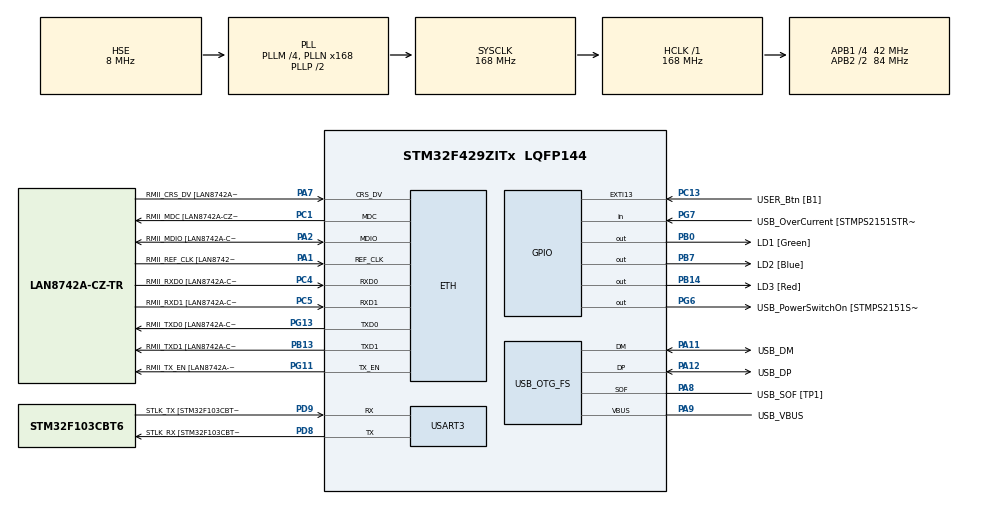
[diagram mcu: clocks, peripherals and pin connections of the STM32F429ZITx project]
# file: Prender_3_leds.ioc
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ETH.MediaInterface=HAL_ETH_RMII_MODE
ETH.PHY_Name=LAN8742A_PHY_ADDRESS
ETH.PHY_Value=0
ETH.PhyAddress=0
Mcu.Family=STM32F4
Mcu.Name=STM32F429ZITx
Mcu.Package=LQFP144
NVIC.PriorityGroup=NVIC_PRIORITYGROUP_4
PA1.GPIO_Label=RMII_REF_CLK [LAN8742A-CZ-TR_REFCLK0]
PA1.Mode=RMII
PA1.Signal=ETH_REF_CLK
PA10.GPIO_Label=USB_ID
PA10.Signal=USB_OTG_FS_ID
PA11.GPIO_Label=USB_DM
PA11.Mode=Device_Only
PA11.Signal=USB_OTG_FS_DM
PA12.GPIO_Label=USB_DP
PA12.Mode=Device_Only
PA12.Signal=USB_OTG_FS_DP
PA13.GPIO_Label=TMS
PA13.Mode=Serial_Wire
PA13.Signal=SYS_JTMS-SWDIO
PA14.GPIO_Label=TCK
PA14.Mode=Serial_Wire
PA14.Signal=SYS_JTCK-SWCLK
PA2.GPIO_Label=RMII_MDIO [LAN8742A-CZ-TR_MDIO]
PA2.Mode=RMII
PA2.Signal=ETH_MDIO
PA7.GPIO_Label=RMII_CRS_DV [LAN8742A-CZ-TR_CRS_DV]
PA7.Mode=RMII
PA7.Signal=ETH_CRS_DV
PA8.GPIO_Label=USB_SOF [TP1]
PA8.Mode=Activate_SOF_FS
PA8.Signal=USB_OTG_FS_SOF
PA9.GPIO_Label=USB_VBUS
PA9.Mode=Activate_VBUS
PA9.Signal=USB_OTG_FS_VBUS
PB0.GPIO_Label=LD1 [Green]
PB0.Signal=GPIO_Output
PB13.GPIO_Label=RMII_TXD1 [LAN8742A-CZ-TR_TXD1]
PB13.Mode=RMII
PB13.Signal=ETH_TXD1
PB14.GPIO_Label=LD3 [Red]
PB14.Signal=GPIO_Output
PB7.GPIO_Label=LD2 [Blue]
PB7.Signal=GPIO_Output
PC1.GPIO_Label=RMII_MDC [LAN8742A-CZ-TR_MDC]
PC1.Mode=RMII
PC1.Signal=ETH_MDC
PC13.GPIO_Label=USER_Btn [B1]
PC13.Signal=GPXTI13
PC14/OSC32_IN.Mode=LSE-External-Oscillator
PC14/OSC32_IN.Signal=RCC_OSC32_IN
PC15/OSC32_OUT.Mode=LSE-External-Oscillator
PC15/OSC32_OUT.Signal=RCC_OSC32_OUT
PC4.GPIO_Label=RMII_RXD0 [LAN8742A-CZ-TR_RXD0]
PC4.Mode=RMII
PC4.Signal=ETH_RXD0
PC5.GPIO_Label=RMII_RXD1 [LAN8742A-CZ-TR_RXD1]
PC5.Mode=RMII
PC5.Signal=ETH_RXD1
PD8.GPIO_Label=STLK_RX [STM32F103CBT6_PA3]
PD8.Mode=Asynchronous
PD8.Signal=USART3_TX
PD9.GPIO_Label=STLK_TX [STM32F103CBT6_PA2]
PD9.Mode=Asynchronous
PD9.Signal=USART3_RX
PG11.GPIO_Label=RMII_TX_EN [LAN8742A-CZ-TR_TXEN]
PG11.Mode=RMII
PG11.Signal=ETH_TX_EN
PG13.GPIO_Label=RMII_TXD0 [LAN8742A-CZ-TR_TXD0]
PG13.Mode=RMII
PG13.Signal=ETH_TXD0
PG6.GPIO_Label=USB_PowerSwitchOn [STMPS2151STR_EN]
PG6.Signal=GPIO_Output
PG7.GPIO_Label=USB_OverCurrent [STMPS2151STR_FAULT]
PG7.Signal=GPIO_Input
PH0/OSC_IN.GPIO_Label=MCO [STM32F103CBT6_PA8]
PH0/OSC_IN.Mode=HSE-External-Clock-Source
PH0/OSC_IN.Signal=RCC_OSC_IN
PH1/OSC_OUT.Mode=HSE-External-Clock-Source
PH1/OSC_OUT.Signal=RCC_OSC_OUT
ProjectManager.HeapSize=0x200
ProjectManager.StackSize=0x400
ProjectManager.TargetToolchain=STM32CubeIDE
RCC.48MHZClocksFreq_Value=48000000
RCC.AHBFreq_Value=168000000
RCC.APB1CLKDivider=RCC_HCLK_DIV4
RCC.APB1Freq_Value=42000000
RCC.APB1TimFreq_Value=84000000
RCC.APB2CLKDivider=RCC_HCLK_DIV2
RCC.APB2Freq_Value=84000000
RCC.APB2TimCLKDivider=2
RCC.APB2TimFreq_Value=168000000
RCC.CortexFreq_Value=168000000
RCC.HCLKFreq_Value=168000000
RCC.HSE_VALUE=8000000
RCC.HSI_VALUE=16000000
RCC.PLLM=4
RCC.PLLMUL=RCC_PLL_MUL9
RCC.PLLN=168
RCC.PLLQ=7
RCC.PRESCALERUSB=RCC_USBCLKSOURCE_PLL_DIV1_5
RCC.SYSCLKFreq_VALUE=168000000
RCC.SYSCLKSource=RCC_SYSCLKSOURCE_PLLCLK
RCC.SYSCLKSourceVirtual=RCC_SYSCLKSOURCE_PLLCLK
RCC.USBFreq_Value=48000000
RCC.VCOOutputFreq_Value=336000000
USART3.VirtualMode=VM_ASYNC
USB_OTG_FS.VirtualMode=Device_Only
board=NUCLEO-F429ZI

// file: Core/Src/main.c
/* USER CODE BEGIN Header */
/**
  ******************************************************************************
  * @file           : main.c
  * @brief          : Main program body
  ******************************************************************************
  * @attention
  *
  * Copyright (c) 2025 STMicroelectronics.
  * All rights reserved.
  *
  * This software is licensed under terms that can be found in the LICENSE file
  * in the root directory of this software component.
  * If no LICENSE file comes with this software, it is provided AS-IS.
  *
  ******************************************************************************
  */
/* USER CODE END Header */
#include "main.h"
#include "string.h"

/* USER CODE BEGIN PD */
#define DELAY1 50
#define DELAY2 200
#define DELAY3 300

/* USER CODE END PD */

ETH_TxPacketConfig TxConfig;
ETH_DMADescTypeDef  DMARxDscrTab[ETH_RX_DESC_CNT]; /* Ethernet Rx DMA Descriptors */
ETH_DMADescTypeDef  DMATxDscrTab[ETH_TX_DESC_CNT]; /* Ethernet Tx DMA Descriptors */

ETH_HandleTypeDef heth;

UART_HandleTypeDef huart3;

PCD_HandleTypeDef hpcd_USB_OTG_FS;

void SystemClock_Config(void);
static void MX_GPIO_Init(void);
static void MX_ETH_Init(void);
static void MX_USART3_UART_Init(void);
static void MX_USB_OTG_FS_PCD_Init(void);

int main(void)
{

  /* MCU Configuration--------------------------------------------------------*/

  /* Reset of all peripherals, Initializes the Flash interface and the Systick. */
  HAL_Init();

  /* Configure the system clock */
  SystemClock_Config();

  /* Initialize all configured peripherals */
  MX_GPIO_Init();
  MX_ETH_Init();
  MX_USART3_UART_Init();
  MX_USB_OTG_FS_PCD_Init();

  /* Infinite loop */
  /* USER CODE BEGIN WHILE */
  while (1)
  {
	  HAL_GPIO_WritePin(GPIOB, LD1_Pin, GPIO_PIN_SET);
		  HAL_Delay(DELAY1);
		  HAL_GPIO_WritePin(GPIOB, LD2_Pin, GPIO_PIN_SET);
		  HAL_Delay(DELAY1);
		  HAL_GPIO_WritePin(GPIOB, LD3_Pin, GPIO_PIN_SET);
		  HAL_Delay(DELAY2);
		  HAL_GPIO_WritePin(GPIOB, LD3_Pin, GPIO_PIN_RESET);
		  HAL_Delay(DELAY2);
		  HAL_GPIO_WritePin(GPIOB, LD2_Pin, GPIO_PIN_RESET);
		  HAL_Delay(DELAY3);
		  HAL_GPIO_WritePin(GPIOB, LD1_Pin, GPIO_PIN_RESET);
		  HAL_Delay(DELAY3);

    /* USER CODE END WHILE */

  }
}

void SystemClock_Config(void)
{
  RCC_OscInitTypeDef RCC_OscInitStruct = {0};
  RCC_ClkInitTypeDef RCC_ClkInitStruct = {0};

  /** Configure the main internal regulator output voltage
  */
  __HAL_RCC_PWR_CLK_ENABLE();
  __HAL_PWR_VOLTAGESCALING_CONFIG(PWR_REGULATOR_VOLTAGE_SCALE1);

  /** Initializes the RCC Oscillators according to the specified parameters
  * in the RCC_OscInitTypeDef structure.
  */
  RCC_OscInitStruct.OscillatorType = RCC_OSCILLATORTYPE_HSE;
  RCC_OscInitStruct.HSEState = RCC_HSE_BYPASS;
  RCC_OscInitStruct.PLL.PLLState = RCC_PLL_ON;
  RCC_OscInitStruct.PLL.PLLSource = RCC_PLLSOURCE_HSE;
  RCC_OscInitStruct.PLL.PLLM = 4;
  RCC_OscInitStruct.PLL.PLLN = 168;
  RCC_OscInitStruct.PLL.PLLP = RCC_PLLP_DIV2;
  RCC_OscInitStruct.PLL.PLLQ = 7;
  if (HAL_RCC_OscConfig(&RCC_OscInitStruct) != HAL_OK)
  {
    Error_Handler();
  }

  /** Initializes the CPU, AHB and APB buses clocks
  */
  RCC_ClkInitStruct.ClockType = RCC_CLOCKTYPE_HCLK|RCC_CLOCKTYPE_SYSCLK
                              |RCC_CLOCKTYPE_PCLK1|RCC_CLOCKTYPE_PCLK2;
  RCC_ClkInitStruct.SYSCLKSource = RCC_SYSCLKSOURCE_PLLCLK;
  RCC_ClkInitStruct.AHBCLKDivider = RCC_SYSCLK_DIV1;
  RCC_ClkInitStruct.APB1CLKDivider = RCC_HCLK_DIV4;
  RCC_ClkInitStruct.APB2CLKDivider = RCC_HCLK_DIV2;

  if (HAL_RCC_ClockConfig(&RCC_ClkInitStruct, FLASH_LATENCY_5) != HAL_OK)
  {
    Error_Handler();
  }
}

static void MX_ETH_Init(void)
{

   static uint8_t MACAddr[6];

  heth.Instance = ETH;
  MACAddr[0] = 0x00;
  MACAddr[1] = 0x80;
  MACAddr[2] = 0xE1;
  MACAddr[3] = 0x00;
  MACAddr[4] = 0x00;
  MACAddr[5] = 0x00;
  heth.Init.MACAddr = &MACAddr[0];
  heth.Init.MediaInterface = HAL_ETH_RMII_MODE;
  heth.Init.TxDesc = DMATxDscrTab;
  heth.Init.RxDesc = DMARxDscrTab;
  heth.Init.RxBuffLen = 1524;

  if (HAL_ETH_Init(&heth) != HAL_OK)
  {
    Error_Handler();
  }

  memset(&TxConfig, 0 , sizeof(ETH_TxPacketConfig));
  TxConfig.Attributes = ETH_TX_PACKETS_FEATURES_CSUM | ETH_TX_PACKETS_FEATURES_CRCPAD;
  TxConfig.ChecksumCtrl = ETH_CHECKSUM_IPHDR_PAYLOAD_INSERT_PHDR_CALC;
  TxConfig.CRCPadCtrl = ETH_CRC_PAD_INSERT;

}

static void MX_USART3_UART_Init(void)
{

  huart3.Instance = USART3;
  huart3.Init.BaudRate = 115200;
  huart3.Init.WordLength = UART_WORDLENGTH_8B;
  huart3.Init.StopBits = UART_STOPBITS_1;
  huart3.Init.Parity = UART_PARITY_NONE;
  huart3.Init.Mode = UART_MODE_TX_RX;
  huart3.Init.HwFlowCtl = UART_HWCONTROL_NONE;
  huart3.Init.OverSampling = UART_OVERSAMPLING_16;
  if (HAL_UART_Init(&huart3) != HAL_OK)
  {
    Error_Handler();
  }

}

static void MX_USB_OTG_FS_PCD_Init(void)
{

  hpcd_USB_OTG_FS.Instance = USB_OTG_FS;
  hpcd_USB_OTG_FS.Init.dev_endpoints = 4;
  hpcd_USB_OTG_FS.Init.speed = PCD_SPEED_FULL;
  hpcd_USB_OTG_FS.Init.dma_enable = DISABLE;
  hpcd_USB_OTG_FS.Init.phy_itface = PCD_PHY_EMBEDDED;
  hpcd_USB_OTG_FS.Init.Sof_enable = ENABLE;
  hpcd_USB_OTG_FS.Init.low_power_enable = DISABLE;
  hpcd_USB_OTG_FS.Init.lpm_enable = DISABLE;
  hpcd_USB_OTG_FS.Init.vbus_sensing_enable = ENABLE;
  hpcd_USB_OTG_FS.Init.use_dedicated_ep1 = DISABLE;
  if (HAL_PCD_Init(&hpcd_USB_OTG_FS) != HAL_OK)
  {
    Error_Handler();
  }

}

static void MX_GPIO_Init(void)
{
  GPIO_InitTypeDef GPIO_InitStruct = {0};

  /* GPIO Ports Clock Enable */
  __HAL_RCC_GPIOC_CLK_ENABLE();
  __HAL_RCC_GPIOH_CLK_ENABLE();
  __HAL_RCC_GPIOA_CLK_ENABLE();
  __HAL_RCC_GPIOB_CLK_ENABLE();
  __HAL_RCC_GPIOD_CLK_ENABLE();
  __HAL_RCC_GPIOG_CLK_ENABLE();

  /*Configure GPIO pin Output Level */
  HAL_GPIO_WritePin(GPIOB, LD1_Pin|LD3_Pin|LD2_Pin, GPIO_PIN_RESET);

  /*Configure GPIO pin Output Level */
  HAL_GPIO_WritePin(USB_PowerSwitchOn_GPIO_Port, USB_PowerSwitchOn_Pin, GPIO_PIN_RESET);

  /*Configure GPIO pin : USER_Btn_Pin */
  GPIO_InitStruct.Pin = USER_Btn_Pin;
  GPIO_InitStruct.Mode = GPIO_MODE_IT_RISING;
  GPIO_InitStruct.Pull = GPIO_NOPULL;
  HAL_GPIO_Init(USER_Btn_GPIO_Port, &GPIO_InitStruct);

  /*Configure GPIO pins : LD1_Pin LD3_Pin LD2_Pin */
  GPIO_InitStruct.Pin = LD1_Pin|LD3_Pin|LD2_Pin;
  GPIO_InitStruct.Mode = GPIO_MODE_OUTPUT_PP;
  GPIO_InitStruct.Pull = GPIO_NOPULL;
  GPIO_InitStruct.Speed = GPIO_SPEED_FREQ_LOW;
  HAL_GPIO_Init(GPIOB, &GPIO_InitStruct);

  /*Configure GPIO pin : USB_PowerSwitchOn_Pin */
  GPIO_InitStruct.Pin = USB_PowerSwitchOn_Pin;
  GPIO_InitStruct.Mode = GPIO_MODE_OUTPUT_PP;
  GPIO_InitStruct.Pull = GPIO_NOPULL;
  GPIO_InitStruct.Speed = GPIO_SPEED_FREQ_LOW;
  HAL_GPIO_Init(USB_PowerSwitchOn_GPIO_Port, &GPIO_InitStruct);

  /*Configure GPIO pin : USB_OverCurrent_Pin */
  GPIO_InitStruct.Pin = USB_OverCurrent_Pin;
  GPIO_InitStruct.Mode = GPIO_MODE_INPUT;
  GPIO_InitStruct.Pull = GPIO_NOPULL;
  HAL_GPIO_Init(USB_OverCurrent_GPIO_Port, &GPIO_InitStruct);

}

void Error_Handler(void)
{
  __disable_irq();
  while (1)
  {
  }
}
